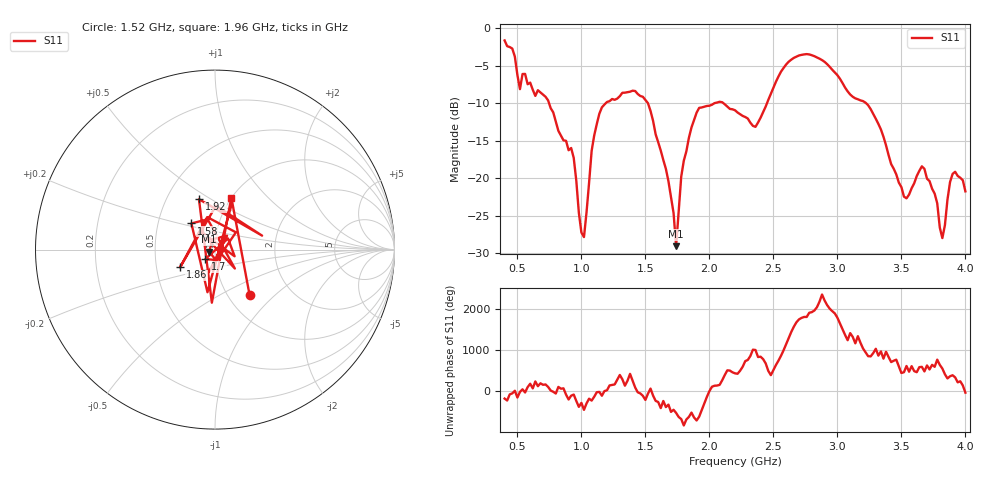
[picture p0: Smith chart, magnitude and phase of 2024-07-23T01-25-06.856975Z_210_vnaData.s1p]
!Created with skrf (http://scikit-rf.org).
# Hz S RI R 50.0
!freq ReS11 ImS11
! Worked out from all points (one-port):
!   181 points, 400 MHz to 4 GHz, reference 50 ohm
!   lowest |S11| = -29.1 dB at 1.74 GHz (marker M1), VSWR 1.07, Z = 46.8 - j1.06 ohm
!   |S11| at or under -10 dB: 747.3 MHz to 1.19 GHz (442.7 MHz wide, 45.7 % of centre); 1.52 GHz to 2.038 GHz (518 MHz wide, 29.1 % of centre); 3.225 GHz to end of sweep (the widest 3 of 4)
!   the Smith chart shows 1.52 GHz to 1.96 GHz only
!   S11 on the Smith chart (normalised r, x): 1.52 GHz: 1.26, -0.70; 1.58 GHz: 0.74, +0.22; 1.7 GHz: 0.89, -0.09; 1.86 GHz: 0.66, -0.14; 1.92 GHz: 0.72, +0.44; 1.96 GHz: 1.00, +0.63
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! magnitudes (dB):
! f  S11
! 400 MHz  -1.6
! 520 MHz  -8.1
! 720 MHz  -9.1
! 860 MHz  -14.9
! 940 MHz  -17.3
! 1.02 GHz  -27.9
! 1.08 GHz  -16.3
! 1.14 GHz  -11.4
! 1.3 GHz  -9.1
! 1.52 GHz  -10.0
! 1.58 GHz  -14.1
! 1.7 GHz  -22.5
! 1.74 GHz  -29.1
! 1.76 GHz  -24.5
! 1.78 GHz  -19.8
! 1.86 GHz  -13.2
! 1.92 GHz  -10.6
! 1.96 GHz  -10.5
! 2.2 GHz  -10.9
! 2.36 GHz  -13.1
! 2.66 GHz  -3.9
! 3.1 GHz  -8.8
! 3.26 GHz  -10.8
! 3.56 GHz  -22.2
! 3.68 GHz  -18.8
! 3.82 GHz  -28.0
! 3.9 GHz  -19.4
! 4 GHz  -21.8
